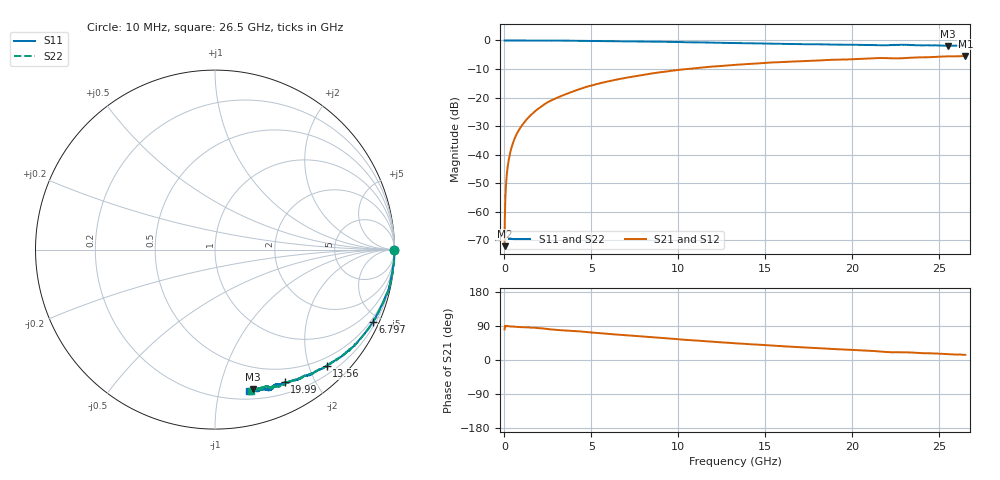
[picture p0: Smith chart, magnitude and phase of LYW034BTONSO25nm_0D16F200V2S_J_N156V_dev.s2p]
!Keysight Technologies,N5222B,MY61253708,A.15.00.15
!Date: Wednesday, June 19, 2024 10:14:40
!Correction: S11(C  2-Port  )
!S21(C  2-Port  )
!S12(C  2-Port  )
!S22(C  2-Port  )
!S2P File: Measurements: S11, S21, S12, S22:
# Hz S  RI  R 50
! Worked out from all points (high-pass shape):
!   2651 points, 10 MHz to 26.5 GHz, reference 50 ohm
!   highest |S21| = -5.42 dB at 26.5 GHz (marker M1); lowest = -72.1 dB at 10 MHz (marker M2)
!   |S21| within 3 dB of the highest: 13.57 GHz to end of sweep
!   lowest |S11| = -1.9 dB at 25.5 GHz (marker M3), VSWR 9.22, Z = 14.4 - j63.3 ohm
!   |S11| at or under -10 dB: nowhere
!   |S22| runs from -1.8 to 0.0 dB; largest |S21 - S12| = 0.0058
!   S11 on the Smith chart (normalised r, x): 10 MHz: open; 6.797 GHz: 0.36, -4.55; 13.56 GHz: 0.34, -2.31; 19.99 GHz: 0.33, -1.61; 26.5 GHz: 0.27, -1.23
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1e7  0.9985 -0.00301  3.96e-05 0.000245  -0.000167 0.000226  0.9983 -0.0017
7.997358e7  1 -0.00563  -7.35e-07 0.00263  1.51e-05 0.00262  0.9993 -0.00521
1.499472e8  1 -0.0106  5.41e-05 0.00491  4.65e-05 0.00492  0.9996 -0.0101
1.899321e8  1 -0.0126  7.51e-05 0.00619  8.31e-05 0.00624  0.9997 -0.0119
2.499094e8  0.9997 -0.0169  0.000136 0.00815  0.000132 0.00819  0.9994 -0.0161
3.498717e8  0.9999 -0.0235  0.000258 0.0114  0.000293 0.0114  0.9996 -0.0227
4.798226e8  0.9986 -0.0321  0.000486 0.0156  0.000475 0.0157  0.9986 -0.0311
6.29766e8  0.9989 -0.0412  0.000882 0.0205  0.000837 0.0206  0.9987 -0.0408
8.196943e8  0.998 -0.0538  0.0014 0.0265  0.00139 0.0267  0.9978 -0.053
1.43946e9  0.991 -0.0955  0.00322 0.0468  0.00329 0.0469  0.9934 -0.0924
2.309132e9  0.9832 -0.1484  0.00941 0.0759  0.00951 0.0761  0.9842 -0.1491
3.208792e9  0.9723 -0.2049  0.0205 0.1025  0.0206 0.1029  0.972 -0.2042
4.428332e9  0.9443 -0.2771  0.0372 0.1396  0.0375 0.1401  0.9458 -0.2747
6.797438e9  0.8796 -0.4034  0.0884 0.1975  0.0891 0.1978  0.8808 -0.4029
8.846664e9  0.8084 -0.4978  0.1417 0.2347  0.1427 0.2349  0.8096 -0.4967
1.3255e10  0.6352 -0.6393  0.2675 0.2604  0.269 0.2598  0.6381 -0.6381
1.356488e10  0.6224 -0.6475  0.2754 0.2599  0.2775 0.2593  0.6248 -0.647
1.767333e10  0.4649 -0.7211  0.3736 0.2344  0.3762 0.2326  0.474 -0.7187
1.999246e10  0.3882 -0.7398  0.4198 0.2097  0.4218 0.2073  0.3989 -0.7393
2.209166e10  0.3296 -0.7564  0.4571 0.1737  0.4581 0.1707  0.3219 -0.7622
2.550038e10  0.2101 -0.7763  0.507 0.1381  0.5078 0.1374  0.2293 -0.778
2.65e10  0.1905 -0.7901  0.5205 0.1267  0.5194 0.123  0.203 -0.7879
